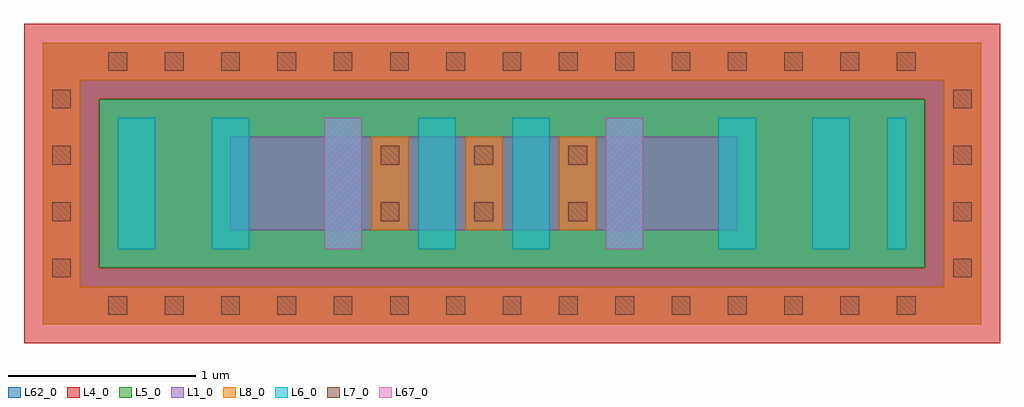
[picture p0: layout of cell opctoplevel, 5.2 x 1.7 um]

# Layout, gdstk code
import gdstk
lib = gdstk.Library(unit=1e-6, precision=1e-09)
def R(c, l, rs):  # rectangles x0, y0, x1, y1
    for r in rs: c.add(gdstk.rectangle(r[:2], r[2:], *l))
def A(c, l, x, y, w, h, nx, ny, dx, dy):  # array of equal rectangles
    R(c, l, [(x+i*dx, y+j*dy, x+i*dx+w, y+j*dy+h) for i in range(nx) for j in range(ny)])
L1_0 = (1, 0)
L4_0 = (4, 0)
L5_0 = (5, 0)
L6_0 = (6, 0)
L7_0 = (7, 0)
L8_0 = (8, 0)
L62_0 = (62, 0)
L67_0 = (67, 0)

opctoplevel = lib.new_cell('opctoplevel')
R(opctoplevel, L1_0, [(-2,-0.5,3,-0.3), (-2,-0.5,-1.8,1), (2.8,-0.5,3,1), (-1,0,1.7,0.5), (-2,0.8,3,1)])
R(opctoplevel, L4_0, [(-2.1,-0.6,3.1,-0.2), (-2.1,-0.6,-1.7,1.1), (2.7,-0.6,3.1,1.1), (-2.1,0.7,3.1,1.1)])
R(opctoplevel, L5_0, [(-1.7,-0.2,2.7,0.7)])
A(opctoplevel, L6_0, -0.5, -0.1, 0.2, 0.7, 4, 1, 0.5, 0)
R(opctoplevel, L6_0, [(-1.6,-0.1,-1.4,0.6), (-1.1,-0.1,-0.9,0.6), (1.6,-0.1,1.8,0.6), (2.1,-0.1,2.3,0.6), (2.5,-0.1,2.6,0.6)])
A(opctoplevel, L7_0, -1.65, -0.45, 0.1, 0.1, 15, 2, 0.3, 1.3)
A(opctoplevel, L7_0, -1.95, -0.25, 0.1, 0.1, 1, 4, 0, 0.3)
A(opctoplevel, L7_0, 2.85, -0.25, 0.1, 0.1, 1, 4, 0, 0.3)
A(opctoplevel, L7_0, -0.2, 0.05, 0.1, 0.1, 3, 2, 0.5, 0.3)
A(opctoplevel, L8_0, -0.25, 0, 0.2, 0.5, 3, 1, 0.5, 0)
R(opctoplevel, L8_0, [(-2,-0.5,3,-0.3), (-2,-0.5,-1.8,1), (2.8,-0.5,3,1), (-2,0.8,3,1)])
R(opctoplevel, L62_0, [(-2,-0.5,3,1)])
R(opctoplevel, L67_0, [(-0.5,-0.1,-0.3,0.6), (1,-0.1,1.2,0.6)])

lib.write_gds('opctoplevel.gds')
